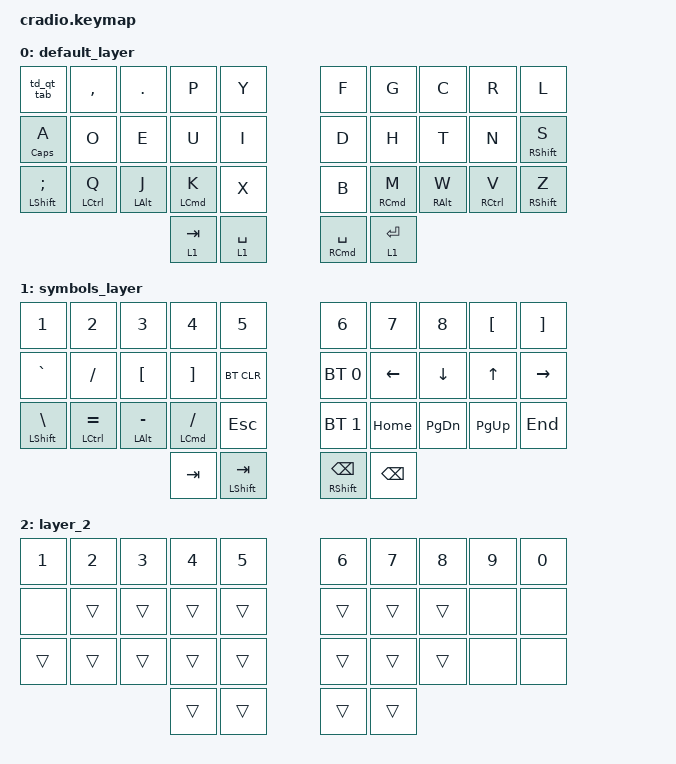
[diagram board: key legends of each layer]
#include <behaviors.dtsi>
#include <dt-bindings/zmk/bt.h>
#include <dt-bindings/zmk/keys.h>

&mt {
    flavor = "tap-preferred";
    tapping_term_ms = <175>;
};

/ {
    combos {
        compatible = "zmk,combos";

        combo_esc {
            timeout-ms = <100>;
            key-positions = <0 10>;
            bindings = <&kp ESC>;
        };
    };

    behaviors {
        td_qt_tab: td_qt_tab {
            compatible = "zmk,behavior-tap-dance";
            label = "TD_QT_TAB";
            #binding-cells = <0>;
            bindings = <&kp SQT>, <&kp TAB>;
        };
    };

    keymap {
        compatible = "zmk,keymap";

        default_layer {
            bindings = <
&td_qt_tab       &kp COMMA    &kp DOT     &kp P       &kp Y          &kp F                    &kp G        &kp C       &kp R        &kp L
&mt CAPSLOCK A   &kp O        &kp E       &kp U       &kp I          &kp D                    &kp H        &kp T       &kp N        &mt RIGHT_SHIFT S
&mt LSHIFT SEMI  &mt LCTRL Q  &mt LALT J  &mt LCMD K  &kp X          &kp B                    &mt RCMD M   &mt RALT W  &mt RCTRL V  &mt RIGHT_SHIFT Z
                                          &lt 1 TAB   &lt 1 SPACE    &mt RIGHT_COMMAND SPACE  &lt 1 ENTER
            >;
        };

        symbols_layer {
            bindings = <
&kp NUM_1       &kp NUM_2      &kp NUM_3       &kp NUM_4       &kp NUM_5        &kp NUM_6       &kp NUM_7  &kp NUM_8  &kp LEFT_BRACKET  &kp RIGHT_BRACKET
&kp GRAVE       &kp SLASH      &kp LBKT        &kp RBKT        &bt BT_CLR       &bt BT_SEL 0    &kp LEFT   &kp DOWN   &kp UP            &kp RIGHT
&mt LSHFT BSLH  &mt LCTRL EQL  &mt LALT MINUS  &mt LCMD SLASH  &kp ESC          &bt BT_SEL 1    &kp HOME   &kp PG_DN  &kp PG_UP         &kp END
                                               &kp TAB         &mt LSHFT TAB    &mt RSHFT BKSP  &kp BKSP
            >;
        };

        layer_2 {
            bindings = <
&kp N1  &kp N2  &kp N3  &kp N4  &kp N5    &kp N6  &kp N7  &kp N8  &kp N9  &kp N0
&none   &trans  &trans  &trans  &trans    &trans  &trans  &trans  &none   &none
&trans  &trans  &trans  &trans  &trans    &trans  &trans  &trans  &none   &none
                        &trans  &trans    &trans  &trans
            >;
        };
    };
};
